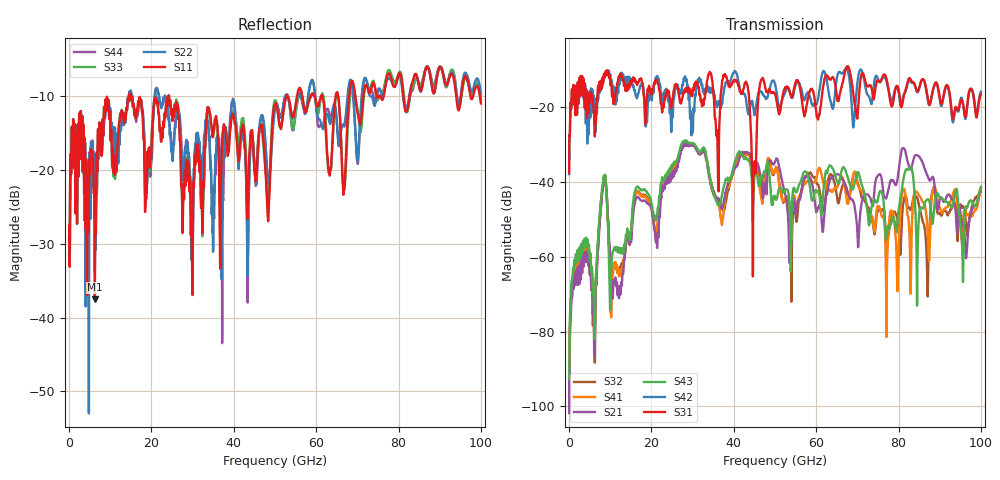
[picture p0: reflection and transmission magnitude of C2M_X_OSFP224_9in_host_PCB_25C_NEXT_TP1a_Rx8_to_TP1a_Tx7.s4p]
# GHz S RI R 45
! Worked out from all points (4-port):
!   4000 points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, 25 MHz to 100 GHz, reference 45 ohm
!   strongest paths, dB at 25 MHz, 25.02 GHz, 50.02 GHz, 75.03 GHz, 100 GHz:
!     S31: -37.6, -18.6, -16.5, -12.9, -16.6
!     S42: -37.9, -22.2, -13.8, -12.5, -15.9
!     S43: -92.5, -36.3, -43.8, -44.5, -41.3
!     S21: -89.4, -39.0, -34.6, -38.3, -42.6
!     S41: -92.6, -37.6, -36.7, -46.4, -41.6
!     S32: -92.0, -37.8, -36.7, -47.7, -41.9
!   lowest |S11| = -37.5 dB at 6.275 GHz (marker M1), VSWR 1.03, Z = 46.1 - j0.437 ohm
!   |S11| at or under -10 dB: start of sweep to 14.56 GHz; 15.06 GHz to 24.2 GHz (9.141 GHz wide, 46.6 % of centre); 24.25 GHz to 52.89 GHz (28.63 GHz wide, 74.2 % of centre) (the widest 3 of 17)
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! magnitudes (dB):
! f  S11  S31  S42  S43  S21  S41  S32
! 25 MHz  -29.4  -37.6  -37.9  -92.5  -89.4  -92.6  -92.0
! 6.275 GHz  -37.5  -27.9  -19.8  -79.5  -82.4  -79.8  -88.3
! 8.525 GHz  -11.5  -11.1  -12.0  -38.6  -39.5  -39.1  -39.1
! 12.2 GHz  -13.7  -11.8  -13.3  -58.9  -69.9  -64.8  -64.0
! 28.18 GHz  -20.8  -15.9  -11.8  -29.0  -30.1  -29.5  -29.7
! 44.88 GHz  -18.7  -36.1  -21.1  -38.6  -38.6  -40.9  -39.0
! 100 GHz  -11.0  -16.6  -15.9  -41.3  -42.6  -41.6  -41.9
